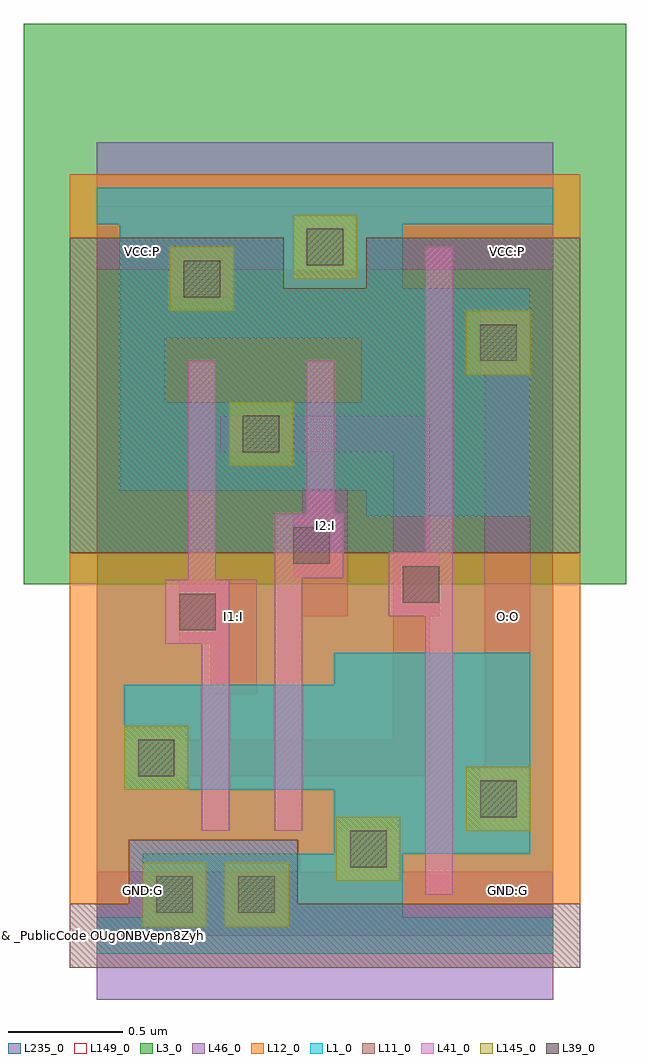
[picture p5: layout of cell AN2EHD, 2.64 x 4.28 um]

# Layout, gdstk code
from math import pi, radians
import gdstk
lib = gdstk.Library(unit=1e-6, precision=1e-09)
def R(c, l, rs):  # rectangles x0, y0, x1, y1
    for r in rs: c.add(gdstk.rectangle(r[:2], r[2:], *l))
def P(c, l, *ps):  # polygons
    for p in ps: c.add(gdstk.Polygon(p, *l))
L1_0 = (1, 0)
L3_0 = (3, 0)
L11_0 = (11, 0)
L12_0 = (12, 0)
L39_0 = (39, 0)
L41_0 = (41, 0)
L46_0 = (46, 0)
L145_0 = (145, 0)
L149_0 = (149, 0)
L235_0 = (235, 0)

c_mc = lib.new_cell('MC')
R(c_mc, L39_0, [(-0.08,-0.08,0.08,0.08)])
R(c_mc, L46_0, [(-0.08,-0.14,0.08,0.14)])
R(c_mc, L145_0, [(-0.14,-0.14,0.14,0.14)])

c_pc = lib.new_cell('PC')
R(c_pc, L39_0, [(-0.08,-0.08,0.08,0.08)])
R(c_pc, L41_0, [(-0.14,-0.14,0.14,0.14)])
R(c_pc, L46_0, [(-0.08,-0.14,0.08,0.14)])

hhlenmiiibn__41gum4xw0 = lib.new_cell('HHLENMIIIBN$$41Gum4XW0')
R(hhlenmiiibn__41gum4xw0, L1_0, [(0,-0.08,2,0.08), (0.12,0.64,1.04,1.1), (0,3.12,2,3.28)])
P(hhlenmiiibn__41gum4xw0, L1_0, [(1.9,2.84),(1.34,2.84),(1.34,3.12),(1.16,3.12),(1.16,2.34),(0.3,2.34),(0.3,2.62),(1.16,2.62),(1.16,3.12),(0.1,3.12),(0.1,1.95),(1.18,1.95),(1.18,1.84),(1.9,1.84)],
  [(1.9,1.24),(1.04,1.24),(1.04,0.36),(0.2,0.36),(0.2,0.08),(1.34,0.08),(1.34,0.36),(1.9,0.36)])
R(hhlenmiiibn__41gum4xw0, L3_0, [(-0.32,1.54,2.32,4)])
R(hhlenmiiibn__41gum4xw0, L11_0, [(-0.12,-0.14,2.12,0.14), (0.14,0.14,0.88,0.42)])
P(hhlenmiiibn__41gum4xw0, L11_0, [(2.12,3.06),(1.18,3.06),(1.18,2.84),(0.82,2.84),(0.82,3.06),(-0.12,3.06),(-0.12,1.68),(2.12,1.68)])
R(hhlenmiiibn__41gum4xw0, L12_0, [(0.82,2.84,1.18,3.06), (-0.12,3.06,2.12,3.34)])
P(hhlenmiiibn__41gum4xw0, L12_0, [(2.12,1.68),(-0.12,1.68),(-0.12,0.14),(0.14,0.14),(0.14,0.42),(0.88,0.42),(0.88,0.14),(2.12,0.14)])
R(hhlenmiiibn__41gum4xw0, L46_0, [(1.05,0.28,1.33,0.46)])
R(hhlenmiiibn__41gum4xw0, L149_0, [(0,0,2,3.2)])
R(hhlenmiiibn__41gum4xw0, L235_0, [(0,0,2,3.2), (0,0,2,3.2), (0,0,2,3.2), (0,0,2,3.2), (0,0,2,3.2), (0,0,2,3.2), (0,0,2,3.2), (0,0,2,3.2), (0,0,2,3.2), (0,0,2,3.2), (0,0,2,3.2), (0,0,2,3.2), (0,0,2,3.2)])
hhlenmiiibn__41gum4xw0.add(gdstk.FlexPath([(1.5,0.18),(1.5,3.02)], 0.12, ends="flush", simple_path=True, layer=41, datatype=0))  # L41_0
hhlenmiiibn__41gum4xw0.add(gdstk.FlexPath([(0.46,2.52),(0.46,1.5),(0.52,1.5),(0.52,0.46)], 0.12, ends="flush", simple_path=True, layer=41, datatype=0))  # L41_0
hhlenmiiibn__41gum4xw0.add(gdstk.FlexPath([(0.98,2.52),(0.98,1.79),(0.84,1.79),(0.84,0.46)], 0.12, ends="flush", simple_path=True, layer=41, datatype=0))  # L41_0
hhlenmiiibn__41gum4xw0.add(gdstk.FlexPath([(0,3),(2,3)], 0, ends="flush", simple_path=True, layer=145, datatype=0))  # L145_0
hhlenmiiibn__41gum4xw0.add(gdstk.FlexPath([(0,2.6),(2,2.6)], 0, ends="flush", simple_path=True, layer=145, datatype=0))  # L145_0
hhlenmiiibn__41gum4xw0.add(gdstk.FlexPath([(0,2.2),(2,2.2)], 0, ends="flush", simple_path=True, layer=145, datatype=0))  # L145_0
hhlenmiiibn__41gum4xw0.add(gdstk.FlexPath([(0,1.8),(2,1.8)], 0, ends="flush", simple_path=True, layer=145, datatype=0))  # L145_0
hhlenmiiibn__41gum4xw0.add(gdstk.FlexPath([(0,1.4),(2,1.4)], 0, ends="flush", simple_path=True, layer=145, datatype=0))  # L145_0
hhlenmiiibn__41gum4xw0.add(gdstk.FlexPath([(0,1),(2,1)], 0, ends="flush", simple_path=True, layer=145, datatype=0))  # L145_0
hhlenmiiibn__41gum4xw0.add(gdstk.FlexPath([(0,0.6),(2,0.6)], 0, ends="flush", simple_path=True, layer=145, datatype=0))  # L145_0
hhlenmiiibn__41gum4xw0.add(gdstk.FlexPath([(0,0.2),(2,0.2)], 0, ends="flush", simple_path=True, layer=145, datatype=0))  # L145_0
hhlenmiiibn__41gum4xw0.add(gdstk.FlexPath([(1.8,0),(1.8,3.2)], 0, ends="flush", simple_path=True, layer=145, datatype=0))  # L145_0
hhlenmiiibn__41gum4xw0.add(gdstk.FlexPath([(1.4,0),(1.4,3.2)], 0, ends="flush", simple_path=True, layer=145, datatype=0))  # L145_0
hhlenmiiibn__41gum4xw0.add(gdstk.FlexPath([(1,0),(1,3.2)], 0, ends="flush", simple_path=True, layer=145, datatype=0))  # L145_0
hhlenmiiibn__41gum4xw0.add(gdstk.FlexPath([(0.6,0),(0.6,3.2)], 0, ends="flush", simple_path=True, layer=145, datatype=0))  # L145_0
hhlenmiiibn__41gum4xw0.add(gdstk.FlexPath([(0.2,0),(0.2,3.2)], 0, ends="flush", simple_path=True, layer=145, datatype=0))  # L145_0
hhlenmiiibn__41gum4xw0.add(gdstk.FlexPath([(0.54,2.2),(1.38,2.2),(1.38,0.78),(0.12,0.78)], 0.16, ends="flush", simple_path=True, layer=46, datatype=0))  # L46_0
hhlenmiiibn__41gum4xw0.add(gdstk.FlexPath([(1.8,0.46),(1.8,2.74)], 0.2, ends="flush", simple_path=True, layer=46, datatype=0))  # L46_0
hhlenmiiibn__41gum4xw0.add(gdstk.FlexPath([(0.6,1.06),(0.6,1.56)], 0.2, ends="flush", simple_path=True, layer=46, datatype=0))  # L46_0
hhlenmiiibn__41gum4xw0.add(gdstk.FlexPath([(1,1.4),(1,1.96)], 0.2, ends="flush", simple_path=True, layer=46, datatype=0))  # L46_0
hhlenmiiibn__41gum4xw0.add(gdstk.FlexPath([(0,3.2),(2,3.2)], 0.56, ends="flush", simple_path=True, layer=46, datatype=0))  # L46_0
hhlenmiiibn__41gum4xw0.add(gdstk.FlexPath([(0,0),(2,0)], 0.56, ends="flush", simple_path=True, layer=46, datatype=0))  # L46_0
r = gdstk.Reference(c_mc, (0.72,2.2), rotation=pi/2); r.repetition = gdstk.Repetition(1, 1, v1=(0,0.28), v2=(-0.32,0)); hhlenmiiibn__41gum4xw0.add(r)
r = gdstk.Reference(c_mc, (1.19,0.38), rotation=pi/2); r.repetition = gdstk.Repetition(1, 1, v1=(0,0.28), v2=(-0.32,0)); hhlenmiiibn__41gum4xw0.add(r)
r = gdstk.Reference(c_mc, (0.7,0.18), rotation=pi/2); r.repetition = gdstk.Repetition(1, 1, v1=(0,0.28), v2=(-0.32,0)); hhlenmiiibn__41gum4xw0.add(r)
r = gdstk.Reference(c_mc, (1,3.02), rotation=pi/2); r.repetition = gdstk.Repetition(1, 1, v1=(0,0.28), v2=(-0.32,0)); hhlenmiiibn__41gum4xw0.add(r)
r = gdstk.Reference(c_mc, (1.76,0.6)); r.repetition = gdstk.Repetition(1, 1, v1=(0.28,0), v2=(0,0.32)); hhlenmiiibn__41gum4xw0.add(r)
r = gdstk.Reference(c_mc, (0.26,0.78), rotation=pi/2); r.repetition = gdstk.Repetition(1, 1, v1=(0,0.28), v2=(-0.32,0)); hhlenmiiibn__41gum4xw0.add(r)
r = gdstk.Reference(c_mc, (0.34,0.18), rotation=pi/2); r.repetition = gdstk.Repetition(1, 1, v1=(0,0.28), v2=(-0.32,0)); hhlenmiiibn__41gum4xw0.add(r)
r = gdstk.Reference(c_mc, (0.46,2.88), rotation=pi/2); r.repetition = gdstk.Repetition(1, 1, v1=(0,0.28), v2=(-0.32,0)); hhlenmiiibn__41gum4xw0.add(r)
r = gdstk.Reference(c_mc, (1.76,2.6)); r.repetition = gdstk.Repetition(1, 1, v1=(0.28,0), v2=(0,0.32)); hhlenmiiibn__41gum4xw0.add(r)
r = gdstk.Reference(c_pc, (0.94,1.71)); r.repetition = gdstk.Repetition(1, 1, v1=(0.28,0), v2=(0,0.32)); hhlenmiiibn__41gum4xw0.add(r)
r = gdstk.Reference(c_pc, (1.42,1.54)); r.repetition = gdstk.Repetition(1, 1, v1=(0.28,0), v2=(0,0.32)); hhlenmiiibn__41gum4xw0.add(r)
r = gdstk.Reference(c_pc, (0.44,1.42)); r.repetition = gdstk.Repetition(1, 1, v1=(0.28,0), v2=(0,0.32)); hhlenmiiibn__41gum4xw0.add(r)
hhlenmiiibn__41gum4xw0.add(gdstk.Label('#Id:7JQJaQKD4XF6RXVVFbb7NLABMd9CZLGaK99JL0406EKC574A4A3EOSP8MXXWHY99T6WBH22210RAL9', (0.02,0.02), layer=147, texttype=0))
hhlenmiiibn__41gum4xw0.add(gdstk.Label('I1:I', (0.6,1.4), layer=101, texttype=0))
hhlenmiiibn__41gum4xw0.add(gdstk.Label('I2:I', (1,1.8), layer=101, texttype=0))
hhlenmiiibn__41gum4xw0.add(gdstk.Label('O:O', (1.8,1.4), layer=101, texttype=0))
hhlenmiiibn__41gum4xw0.add(gdstk.Label('GND:G', (1.8,0.2), layer=101, texttype=0))
hhlenmiiibn__41gum4xw0.add(gdstk.Label('GND:G', (0.2,0.2), layer=101, texttype=0))
hhlenmiiibn__41gum4xw0.add(gdstk.Label('VCC:P', (1.8,3), layer=101, texttype=0))
hhlenmiiibn__41gum4xw0.add(gdstk.Label('VCC:P', (0.2,3), layer=101, texttype=0))
hhlenmiiibn__41gum4xw0.add(gdstk.Label('AN2EHD', (0,0), layer=144, texttype=0))

an2ehd = lib.new_cell('AN2EHD')
R(an2ehd, L149_0, [(0,0,2,3.2)])
an2ehd.add(gdstk.Reference(hhlenmiiibn__41gum4xw0, (0,0)))
an2ehd.add(gdstk.Label('& _PublicCode OUgONBVepn8Zyhuhb7nzKSFGv0ozQ4p7', (0,0), layer=3, texttype=0))
an2ehd.add(gdstk.Label('& Metric 6.40', (0,0), layer=3, texttype=0))
an2ehd.add(gdstk.Label('& Version 2009Q1V3.0', (0,0), layer=3, texttype=0))
an2ehd.add(gdstk.Label('& Product FSC0H_D_GENERIC_CORE', (0,0), layer=3, texttype=0))
an2ehd.add(gdstk.Label('& Vendor Faraday_Technology_Corp.', (0,0), layer=3, texttype=0))
an2ehd.add(gdstk.Label('#Id:7JQJaQKD4XF6RXVVFbb7NLABMd9CZLGaK99JL0406EKC574A4A3EOSP8MXXWHY99T6WBH22210RAL9', (0.02,0.02), layer=147, texttype=0))
an2ehd.add(gdstk.Label('I1:I', (0.6,1.4), layer=101, texttype=0))
an2ehd.add(gdstk.Label('I2:I', (1,1.8), layer=101, texttype=0))
an2ehd.add(gdstk.Label('O:O', (1.8,1.4), layer=101, texttype=0))
an2ehd.add(gdstk.Label('GND:G', (1.8,0.2), layer=101, texttype=0))
an2ehd.add(gdstk.Label('GND:G', (0.2,0.2), layer=101, texttype=0))
an2ehd.add(gdstk.Label('VCC:P', (1.8,3), layer=101, texttype=0))
an2ehd.add(gdstk.Label('VCC:P', (0.2,3), layer=101, texttype=0))
an2ehd.add(gdstk.Label('AN2EHD', (0,0), layer=144, texttype=0))

lib.write_gds('AN2EHD.gds')
